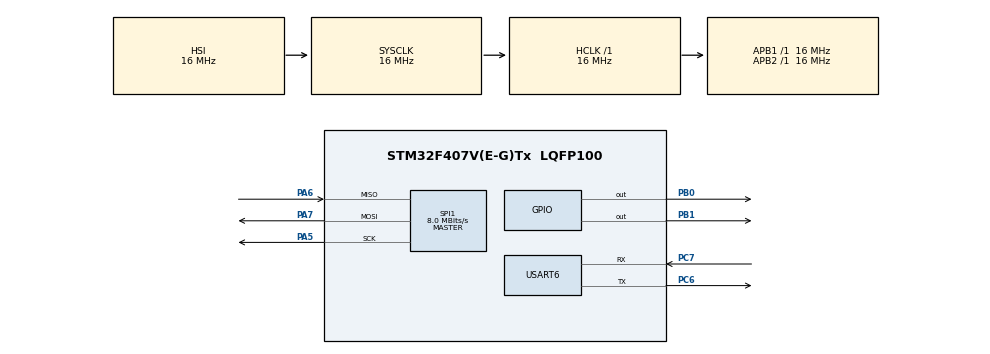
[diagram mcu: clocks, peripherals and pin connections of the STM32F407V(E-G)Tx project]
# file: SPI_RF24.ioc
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Mcu.Family=STM32F4
Mcu.Name=STM32F407V(E-G)Tx
Mcu.Package=LQFP100
NVIC.PriorityGroup=NVIC_PRIORITYGROUP_4
PA5.Mode=Full_Duplex_Master
PA5.Signal=SPI1_SCK
PA6.Mode=Full_Duplex_Master
PA6.Signal=SPI1_MISO
PA7.Mode=Full_Duplex_Master
PA7.Signal=SPI1_MOSI
PB0.Signal=GPIO_Output
PB1.Signal=GPIO_Output
PC6.Mode=Asynchronous
PC6.Signal=USART6_TX
PC7.Mode=Asynchronous
PC7.Signal=USART6_RX
ProjectManager.HeapSize=0x200
ProjectManager.StackSize=0x400
ProjectManager.TargetToolchain=STM32CubeIDE
RCC.AHBFreq_Value=16000000
RCC.APB1Freq_Value=16000000
RCC.APB2Freq_Value=16000000
RCC.CortexFreq_Value=16000000
RCC.HSE_VALUE=25000000
RCC.HSI_VALUE=16000000
RCC.LSE_VALUE=32768
RCC.SYSCLKFreq_VALUE=16000000
RCC.VCOOutputFreq_Value=192000000
SPI1.CalculateBaudRate=8.0 MBits/s
SPI1.Direction=SPI_DIRECTION_2LINES
SPI1.Mode=SPI_MODE_MASTER
SPI1.VirtualType=VM_MASTER
USART6.VirtualMode=VM_ASYNC
board=custom

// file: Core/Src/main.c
/* USER CODE BEGIN Header */
/**
 ******************************************************************************
 * @file           : main.c
 * @brief          : Main program body
 ******************************************************************************
 * @attention
 *
 * Copyright (c) 2023 STMicroelectronics.
 * All rights reserved.
 *
 * This software is licensed under terms that can be found in the LICENSE file
 * in the root directory of this software component.
 * If no LICENSE file comes with this software, it is provided AS-IS.
 *
 ******************************************************************************
 */
/* USER CODE END Header */
#include "main.h"

/* USER CODE BEGIN Includes */
#include "MY_NRF24.h"
#include <stdio.h>
/* USER CODE END Includes */

/* USER CODE BEGIN PD */
#define nrf_CSN_PORT		GPIOB
#define nrf_CSN_PIN			GPIO_PIN_0

#define nrf_CE_PORT			GPIOB
#define nrf_CE_PIN			GPIO_PIN_1
/* USER CODE END PD */

SPI_HandleTypeDef hspi1;

UART_HandleTypeDef huart6;

/* USER CODE BEGIN PV */
uint64_t TxpipeAddrs = 0xAABBCCDDEE;
char myTxData[32] = "Hello World!";
char AckPayload[32];
/* USER CODE END PV */

void SystemClock_Config(void);
static void MX_GPIO_Init(void);
static void MX_SPI1_Init(void);
static void MX_USART6_UART_Init(void);

int main(void) {

	/* MCU Configuration--------------------------------------------------------*/

	/* Reset of all peripherals, Initializes the Flash interface and the Systick. */
	HAL_Init();

	/* Configure the system clock */
	SystemClock_Config();

	/* Initialize all configured peripherals */
	MX_GPIO_Init();
	MX_SPI1_Init();
	MX_USART6_UART_Init();
	/* USER CODE BEGIN 2 */
	char a[80] = "----------------Tx---------------------\r\n";
	HAL_UART_Transmit(&huart6, (uint8_t*) a, strlen(a), 10);

	NRF24_begin(GPIOB, nrf_CSN_PIN, nrf_CE_PIN, hspi1);
	nrf24_DebugUART_Init(huart6);

	uint8_t reg8Val;
	reg8Val = NRF24_read_register(0x00);
	sprintf(a, "REG0:		%02X\r\n", reg8Val);
	HAL_UART_Transmit(&huart6, (uint8_t*) a, strlen(a), 10);
	reg8Val = NRF24_read_register(0x01);
	sprintf(a, "REG1:		%02X\r\n", reg8Val);
	HAL_UART_Transmit(&huart6, (uint8_t*) a, strlen(a), 10);
	reg8Val = NRF24_read_register(0x02);
	sprintf(a, "REG2:		%02X\r\n", reg8Val);
	HAL_UART_Transmit(&huart6, (uint8_t*) a, strlen(a), 10);
	reg8Val = NRF24_read_register(0x03);
	sprintf(a, "REG3:		%02X\r\n", reg8Val);
	HAL_UART_Transmit(&huart6, (uint8_t*) a, strlen(a), 10);
	reg8Val = NRF24_read_register(0x04);
	sprintf(a, "REG4:		%02X\r\n", reg8Val);
	HAL_UART_Transmit(&huart6, (uint8_t*) a, strlen(a), 10);
	reg8Val = NRF24_read_register(0x05);
	sprintf(a, "REG5:		%02X\r\n", reg8Val);
	HAL_UART_Transmit(&huart6, (uint8_t*) a, strlen(a), 10);
	reg8Val = NRF24_read_register(0x06);
	sprintf(a, "REG6:		%02X\r\n", reg8Val);
	HAL_UART_Transmit(&huart6, (uint8_t*) a, strlen(a), 10);
	reg8Val = NRF24_read_register(0x07);
	sprintf(a, "REG7:		%02X\r\n", reg8Val);
	HAL_UART_Transmit(&huart6, (uint8_t*) a, strlen(a), 10);
	reg8Val = NRF24_read_register(0x08);
	sprintf(a, "REG8:		%02X\r\n", reg8Val);
	HAL_UART_Transmit(&huart6, (uint8_t*) a, strlen(a), 10);
	reg8Val = NRF24_read_register(0x09);
	sprintf(a, "REG9:		%02X\r\n", reg8Val);
	HAL_UART_Transmit(&huart6, (uint8_t*) a, strlen(a), 10);
	printRadioSettings();

	NRF24_stopListening();

	NRF24_openWritingPipe(TxpipeAddrs);

	NRF24_setAutoAck(false);

	/* USER CODE END 2 */

	/* Infinite loop */
	/* USER CODE BEGIN WHILE */
	while (1) {
		if (NRF24_write(myTxData, 32)) {
			HAL_UART_Transmit(&huart6,
					(uint8_t*) "Transmitted Successfully\r\n",
					strlen("Transmitted Successfully\r\n"), 10);
		}
		HAL_Delay(1000);
		/* USER CODE END WHILE */

	}
}

void SystemClock_Config(void) {
	RCC_OscInitTypeDef RCC_OscInitStruct = { 0 };
	RCC_ClkInitTypeDef RCC_ClkInitStruct = { 0 };

	/** Configure the main internal regulator output voltage
	 */
	__HAL_RCC_PWR_CLK_ENABLE();
	__HAL_PWR_VOLTAGESCALING_CONFIG(PWR_REGULATOR_VOLTAGE_SCALE1);

	/** Initializes the RCC Oscillators according to the specified parameters
	 * in the RCC_OscInitTypeDef structure.
	 */
	RCC_OscInitStruct.OscillatorType = RCC_OSCILLATORTYPE_HSI;
	RCC_OscInitStruct.HSIState = RCC_HSI_ON;
	RCC_OscInitStruct.HSICalibrationValue = RCC_HSICALIBRATION_DEFAULT;
	RCC_OscInitStruct.PLL.PLLState = RCC_PLL_NONE;
	if (HAL_RCC_OscConfig(&RCC_OscInitStruct) != HAL_OK) {
		Error_Handler();
	}

	/** Initializes the CPU, AHB and APB buses clocks
	 */
	RCC_ClkInitStruct.ClockType = RCC_CLOCKTYPE_HCLK | RCC_CLOCKTYPE_SYSCLK
			| RCC_CLOCKTYPE_PCLK1 | RCC_CLOCKTYPE_PCLK2;
	RCC_ClkInitStruct.SYSCLKSource = RCC_SYSCLKSOURCE_HSI;
	RCC_ClkInitStruct.AHBCLKDivider = RCC_SYSCLK_DIV1;
	RCC_ClkInitStruct.APB1CLKDivider = RCC_HCLK_DIV1;
	RCC_ClkInitStruct.APB2CLKDivider = RCC_HCLK_DIV1;

	if (HAL_RCC_ClockConfig(&RCC_ClkInitStruct, FLASH_LATENCY_0) != HAL_OK) {
		Error_Handler();
	}
}

static void MX_SPI1_Init(void) {

	/* SPI1 parameter configuration*/
	hspi1.Instance = SPI1;
	hspi1.Init.Mode = SPI_MODE_MASTER;
	hspi1.Init.Direction = SPI_DIRECTION_2LINES;
	hspi1.Init.DataSize = SPI_DATASIZE_8BIT;
	hspi1.Init.CLKPolarity = SPI_POLARITY_LOW;
	hspi1.Init.CLKPhase = SPI_PHASE_1EDGE;
	hspi1.Init.NSS = SPI_NSS_SOFT;
	hspi1.Init.BaudRatePrescaler = SPI_BAUDRATEPRESCALER_2;
	hspi1.Init.FirstBit = SPI_FIRSTBIT_MSB;
	hspi1.Init.TIMode = SPI_TIMODE_DISABLE;
	hspi1.Init.CRCCalculation = SPI_CRCCALCULATION_DISABLE;
	hspi1.Init.CRCPolynomial = 10;
	if (HAL_SPI_Init(&hspi1) != HAL_OK) {
		Error_Handler();
	}

}

static void MX_USART6_UART_Init(void) {

	huart6.Instance = USART6;
	huart6.Init.BaudRate = 115200;
	huart6.Init.WordLength = UART_WORDLENGTH_8B;
	huart6.Init.StopBits = UART_STOPBITS_1;
	huart6.Init.Parity = UART_PARITY_NONE;
	huart6.Init.Mode = UART_MODE_TX_RX;
	huart6.Init.HwFlowCtl = UART_HWCONTROL_NONE;
	huart6.Init.OverSampling = UART_OVERSAMPLING_16;
	if (HAL_UART_Init(&huart6) != HAL_OK) {
		Error_Handler();
	}

}

static void MX_GPIO_Init(void) {
	GPIO_InitTypeDef GPIO_InitStruct = { 0 };

	/* GPIO Ports Clock Enable */
	__HAL_RCC_GPIOA_CLK_ENABLE();
	__HAL_RCC_GPIOB_CLK_ENABLE();
	__HAL_RCC_GPIOC_CLK_ENABLE();

	/*Configure GPIO pin Output Level */
	HAL_GPIO_WritePin(GPIOB, GPIO_PIN_0 | GPIO_PIN_1, GPIO_PIN_RESET);

	/*Configure GPIO pins : PB0 PB1 */
	GPIO_InitStruct.Pin = GPIO_PIN_0 | GPIO_PIN_1;
	GPIO_InitStruct.Mode = GPIO_MODE_OUTPUT_PP;
	GPIO_InitStruct.Pull = GPIO_NOPULL;
	GPIO_InitStruct.Speed = GPIO_SPEED_FREQ_LOW;
	HAL_GPIO_Init(GPIOB, &GPIO_InitStruct);

}

void Error_Handler(void) {
	__disable_irq();
	while (1) {
	}
}
